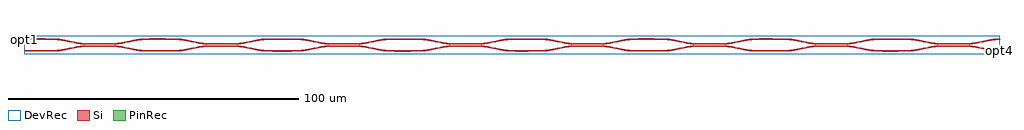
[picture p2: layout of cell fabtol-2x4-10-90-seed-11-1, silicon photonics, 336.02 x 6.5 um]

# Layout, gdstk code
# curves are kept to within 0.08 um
import gdstk
lib = gdstk.Library(unit=1e-6, precision=1e-09)
def R(c, l, rs):  # rectangles x0, y0, x1, y1
    for r in rs: c.add(gdstk.rectangle(r[:2], r[2:], *l))
def P(c, l, *ps):  # polygons
    for p in ps: c.add(gdstk.Polygon(p, *l))
Si = (1, 0)
PinRec = (1, 10)
DevRec = (68, 0)

layer_3_0_phase_sec_2_42 = lib.new_cell('layer-3_0_phase_sec_2$42')
P(layer_3_0_phase_sec_2_42, Si, [(1.179,-0.236),(0,-0.225),(0,0.225),(10,0.225),(10,-0.225)])

layer_3_0_phase_sec_1_42 = lib.new_cell('layer-3_0_phase_sec_1$42')
P(layer_3_0_phase_sec_1_42, Si, [(5.202,-0.228),(0,-0.225),(0,0.225),(10,0.225),(10,-0.225)])

layer_3_0_phase_sec_0_42 = lib.new_cell('layer-3_0_phase_sec_0$42')
P(layer_3_0_phase_sec_0_42, Si, [(5.581,-0.247),(0,-0.225),(0,0.225),(10,0.225),(10,-0.225)])

layer_0_0_phase_sec_0_42 = lib.new_cell('layer-0_0_phase_sec_0$42')
P(layer_0_0_phase_sec_0_42, Si, [(5.781,-0.241),(0,-0.225),(0,0.225),(10,0.225),(10,-0.225)])

layer_1_0_phase_sec_2_42 = lib.new_cell('layer-1_0_phase_sec_2$42')
P(layer_1_0_phase_sec_2_42, Si, [(1.437,-0.235),(0,-0.225),(0,0.225),(10,0.225),(10,-0.225)])

layer_3_0_phase_sec_3_42 = lib.new_cell('layer-3_0_phase_sec_3$42')
P(layer_3_0_phase_sec_3_42, Si, [(4.195,-0.242),(0,-0.225),(0,0.225),(10,0.225),(10,-0.225)])

layer_0_0_phase_sec_1_42 = lib.new_cell('layer-0_0_phase_sec_1$42')
P(layer_0_0_phase_sec_1_42, Si, [(2.736,-0.229),(0,-0.225),(0,0.225),(10,0.225),(10,-0.225)])

layer_1_0_phase_sec_1_42 = lib.new_cell('layer-1_0_phase_sec_1$42')
P(layer_1_0_phase_sec_1_42, Si, [(4.795,-0.247),(0,-0.225),(0,0.225),(10,0.225),(10,-0.225)])

dc_arm_down_42 = lib.new_cell('dc_arm_down$42')
R(dc_arm_down_42, Si, [(12,-0.55,20,-0.1)])
P(dc_arm_down_42, Si, [(32,-2.225),(30.861,-2.188),(29.344,-2.033),(22.966,-0.793),(21.481,-0.613),(20,-0.55),(20,-0.1),(21.139,-0.137),(22.656,-0.292),(29.034,-1.532),(30.519,-1.712),(32,-1.775)],
  [(0,-2.225),(0,-1.775),(1.481,-1.712),(2.966,-1.532),(9.344,-0.292),(10.861,-0.137),(12,-0.1),(12,-0.55),(10.519,-0.613),(9.034,-0.793),(2.656,-2.033),(1.139,-2.188)])

dc_arm_up_42 = lib.new_cell('dc_arm_up$42')
R(dc_arm_up_42, Si, [(12,0.1,20,0.55)])
P(dc_arm_up_42, Si, [(20,0.1),(20,0.55),(21.481,0.613),(22.966,0.793),(29.344,2.033),(30.861,2.188),(32,2.225),(32,1.775),(30.519,1.712),(29.034,1.532),(22.656,0.292),(21.139,0.137)],
  [(12,0.1),(10.861,0.137),(9.344,0.292),(2.966,1.532),(1.481,1.712),(0,1.775),(0,2.225),(1.139,2.188),(2.656,2.033),(9.034,0.793),(10.519,0.613),(12,0.55)])

dc_42 = lib.new_cell('dc$42')
dc_42.add(gdstk.Reference(dc_arm_down_42, (0,0)))
dc_42.add(gdstk.Reference(dc_arm_up_42, (0,0)))

layer_2_0_phase_sec_3_42 = lib.new_cell('layer-2_0_phase_sec_3$42')
P(layer_2_0_phase_sec_3_42, Si, [(5.304,-0.234),(0,-0.225),(0,0.225),(10,0.225),(10,-0.225)])

layer_0_0_phase_sec_2_42 = lib.new_cell('layer-0_0_phase_sec_2$42')
P(layer_0_0_phase_sec_2_42, Si, [(1.326,-0.248),(0,-0.225),(0,0.225),(10,0.225),(10,-0.225)])

layer_0_0_phase_sec_3_42 = lib.new_cell('layer-0_0_phase_sec_3$42')
P(layer_0_0_phase_sec_3_42, Si, [(3.116,-0.23),(0,-0.225),(0,0.225),(10,0.225),(10,-0.225)])

layer_1_0_phase_sec_0_42 = lib.new_cell('layer-1_0_phase_sec_0$42')
P(layer_1_0_phase_sec_0_42, Si, [(1.509,-0.231),(0,-0.225),(0,0.225),(10,0.225),(10,-0.225)])

layer_1_0_phase_sec_3_42 = lib.new_cell('layer-1_0_phase_sec_3$42')
P(layer_1_0_phase_sec_3_42, Si, [(7.183,-0.245),(0,-0.225),(0,0.225),(10,0.225),(10,-0.225)])

layer_2_0_phase_sec_0_42 = lib.new_cell('layer-2_0_phase_sec_0$42')
P(layer_2_0_phase_sec_0_42, Si, [(6.324,-0.231),(0,-0.225),(0,0.225),(10,0.225),(10,-0.225)])

layer_2_0_phase_sec_1_42 = lib.new_cell('layer-2_0_phase_sec_1$42')
P(layer_2_0_phase_sec_1_42, Si, [(2.252,-0.248),(0,-0.225),(0,0.225),(10,0.225),(10,-0.225)])

layer_2_0_phase_sec_2_42 = lib.new_cell('layer-2_0_phase_sec_2$42')
P(layer_2_0_phase_sec_2_42, Si, [(5.621,-0.244),(0,-0.225),(0,0.225),(10,0.225),(10,-0.225)])

fabtol_2x4_10_90_seed_11 = lib.new_cell('fabtol-2x4-10-90-seed-11-1')
R(fabtol_2x4_10_90_seed_11, DevRec, [(0,-1,336,5.496)])
fabtol_2x4_10_90_seed_11.add(gdstk.FlexPath([(335.99,0.248),(336.01,0.248)], 0.45, ends="flush", simple_path=True, layer=1, datatype=10))  # PinRec
fabtol_2x4_10_90_seed_11.add(gdstk.FlexPath([(335.99,4.248),(336.01,4.248)], 0.45, ends="flush", simple_path=True, layer=1, datatype=10))  # PinRec
fabtol_2x4_10_90_seed_11.add(gdstk.FlexPath([(0.01,4.248),(-0.01,4.248)], 0.45, ends="flush", simple_path=True, layer=1, datatype=10))  # PinRec
fabtol_2x4_10_90_seed_11.add(gdstk.Reference(layer_3_0_phase_sec_2_42, (294,4.248)))
fabtol_2x4_10_90_seed_11.add(gdstk.Reference(layer_3_0_phase_sec_1_42, (252,0.248)))
fabtol_2x4_10_90_seed_11.add(gdstk.Reference(layer_3_0_phase_sec_0_42, (252,4.248)))
fabtol_2x4_10_90_seed_11.add(gdstk.Reference(layer_0_0_phase_sec_0_42, (0,4.248)))
fabtol_2x4_10_90_seed_11.add(gdstk.Reference(layer_1_0_phase_sec_2_42, (126,4.248)))
fabtol_2x4_10_90_seed_11.add(gdstk.Reference(layer_3_0_phase_sec_3_42, (294,0.248)))
fabtol_2x4_10_90_seed_11.add(gdstk.Reference(layer_0_0_phase_sec_1_42, (0,0.248)))
fabtol_2x4_10_90_seed_11.add(gdstk.Reference(layer_1_0_phase_sec_1_42, (84,0.248)))
fabtol_2x4_10_90_seed_11.add(gdstk.Reference(dc_42, (10,2.248)))
fabtol_2x4_10_90_seed_11.add(gdstk.Reference(dc_42, (52,2.248)))
fabtol_2x4_10_90_seed_11.add(gdstk.Reference(dc_42, (94,2.248)))
fabtol_2x4_10_90_seed_11.add(gdstk.Reference(dc_42, (136,2.248)))
fabtol_2x4_10_90_seed_11.add(gdstk.Reference(dc_42, (178,2.248)))
fabtol_2x4_10_90_seed_11.add(gdstk.Reference(dc_42, (220,2.248)))
fabtol_2x4_10_90_seed_11.add(gdstk.Reference(dc_42, (262,2.248)))
fabtol_2x4_10_90_seed_11.add(gdstk.Reference(dc_42, (304,2.248)))
fabtol_2x4_10_90_seed_11.add(gdstk.Reference(layer_2_0_phase_sec_3_42, (210,0.248)))
fabtol_2x4_10_90_seed_11.add(gdstk.Reference(layer_0_0_phase_sec_2_42, (42,4.248)))
fabtol_2x4_10_90_seed_11.add(gdstk.Reference(layer_0_0_phase_sec_3_42, (42,0.248)))
fabtol_2x4_10_90_seed_11.add(gdstk.Reference(layer_1_0_phase_sec_0_42, (84,4.248)))
fabtol_2x4_10_90_seed_11.add(gdstk.Reference(layer_1_0_phase_sec_3_42, (126,0.248)))
fabtol_2x4_10_90_seed_11.add(gdstk.Reference(layer_2_0_phase_sec_0_42, (168,4.248)))
fabtol_2x4_10_90_seed_11.add(gdstk.Reference(layer_2_0_phase_sec_1_42, (168,0.248)))
fabtol_2x4_10_90_seed_11.add(gdstk.Reference(layer_2_0_phase_sec_2_42, (210,4.248)))
fabtol_2x4_10_90_seed_11.add(gdstk.Label('opt4', (336,0.248), layer=1, texttype=10))
fabtol_2x4_10_90_seed_11.add(gdstk.Label('opt3', (336,4.248), layer=1, texttype=10))
fabtol_2x4_10_90_seed_11.add(gdstk.Label('opt1', (0,4.248), layer=1, texttype=10))

lib.write_gds('fabtol-2x4-10-90-seed-11-1.gds')
